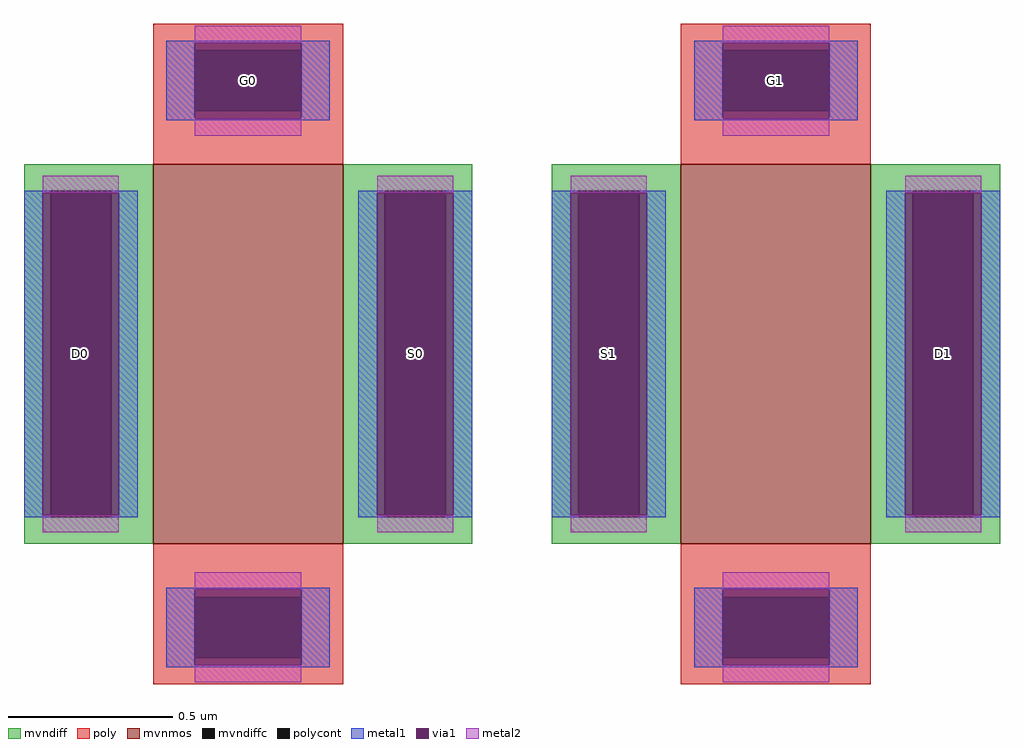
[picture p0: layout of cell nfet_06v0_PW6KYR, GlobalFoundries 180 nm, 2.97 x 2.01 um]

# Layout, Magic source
magic
tech gf180mcuD
magscale 3 26
<< mvnmos >>
rect -189 -100 -89 100
rect 89 -100 189 100
<< mvndiff >>
rect -257 86 -189 100
rect -257 -86 -243 86
rect -211 -86 -189 86
rect -257 -100 -189 -86
rect -89 86 -21 100
rect -89 -86 -67 86
rect -35 -86 -21 86
rect -89 -100 -21 -86
rect 21 86 89 100
rect 21 -86 35 86
rect 67 -86 89 86
rect 21 -100 89 -86
rect 189 86 257 100
rect 189 -86 211 86
rect 243 -86 257 86
rect 189 -100 257 -86
<< mvndiffc >>
rect -243 -86 -211 86
rect -67 -86 -35 86
rect 35 -86 67 86
rect 211 -86 243 86
<< poly >>
rect -189 160 -89 174
rect -189 128 -167 160
rect -111 128 -89 160
rect -189 100 -89 128
rect 89 160 189 174
rect 89 128 111 160
rect 167 128 189 160
rect 89 100 189 128
rect -189 -128 -89 -100
rect -189 -160 -167 -128
rect -111 -160 -89 -128
rect -189 -174 -89 -160
rect 89 -128 189 -100
rect 89 -160 111 -128
rect 167 -160 189 -128
rect 89 -174 189 -160
<< polycont >>
rect -167 128 -111 160
rect 111 128 167 160
rect -167 -160 -111 -128
rect 111 -160 167 -128
<< metal1 >>
rect -182 164 -96 165
rect -182 124 -167 164
rect -111 124 -96 164
rect -182 123 -96 124
rect 96 164 182 165
rect 96 124 111 164
rect 167 124 182 164
rect 96 123 182 124
rect -257 85 -243 86
rect -211 85 -197 86
rect -257 -85 -247 85
rect -207 -85 -197 85
rect -257 -86 -243 -85
rect -211 -86 -197 -85
rect -81 85 -67 86
rect -35 85 -21 86
rect -81 -85 -71 85
rect -31 -85 -21 85
rect -81 -86 -67 -85
rect -35 -86 -21 -85
rect 21 85 35 86
rect 67 85 81 86
rect 21 -85 31 85
rect 71 -85 81 85
rect 21 -86 35 -85
rect 67 -86 81 -85
rect 197 85 211 86
rect 243 85 257 86
rect 197 -85 207 85
rect 247 -85 257 85
rect 197 -86 211 -85
rect 243 -86 257 -85
rect -182 -124 -96 -123
rect -182 -164 -167 -124
rect -111 -164 -96 -124
rect -182 -165 -96 -164
rect 96 -124 182 -123
rect 96 -164 111 -124
rect 167 -164 182 -124
rect 96 -165 182 -164
<< via1 >>
rect -167 160 -111 164
rect -167 128 -111 160
rect -167 124 -111 128
rect 111 160 167 164
rect 111 128 167 160
rect 111 124 167 128
rect -247 -85 -243 85
rect -243 -85 -211 85
rect -211 -85 -207 85
rect -71 -85 -67 85
rect -67 -85 -35 85
rect -35 -85 -31 85
rect 31 -85 35 85
rect 35 -85 67 85
rect 67 -85 71 85
rect 207 -85 211 85
rect 211 -85 243 85
rect 243 -85 247 85
rect -167 -128 -111 -124
rect -167 -160 -111 -128
rect -167 -164 -111 -160
rect 111 -128 167 -124
rect 111 -160 167 -128
rect 111 -164 167 -160
<< metal2 >>
rect -167 164 -111 173
rect -167 115 -111 124
rect 111 164 167 173
rect 111 115 167 124
rect -247 85 -207 94
rect -247 -94 -207 -85
rect -71 85 -31 94
rect -71 -94 -31 -85
rect 31 85 71 94
rect 31 -94 71 -85
rect 207 85 247 94
rect 207 -94 247 -85
rect -167 -124 -111 -115
rect -167 -173 -111 -164
rect 111 -124 167 -115
rect 111 -173 167 -164
<< labels >>
rlabel mvndiffc -227 0 -227 0 0 D0
port 1 nsew
rlabel mvndiffc -51 0 -51 0 0 S0
port 2 nsew
rlabel polycont -139 144 -139 144 0 G0
port 3 nsew
rlabel mvndiffc 227 0 227 0 0 D1
port 4 nsew
rlabel mvndiffc 51 0 51 0 0 S1
port 5 nsew
rlabel polycont 139 144 139 144 0 G1
port 6 nsew
<< properties >>
string gencell nfet_05v0
string library gf180mcu
string parameters w 1.0 l 0.5 m 1 ng 2 diffcov 100 polycov 100 guard 0 glc 1 grc 1 gtc 1 gbc 1 tbcov 100 rlcov 100 topc 1 botc 1 poverlap 0 doverlap 0 lmin 0.45 wmin 0.15 class mosfet compatible {nfet_05v0 nfet_06v0} full_metal 1 conn_gates 0 gate_ring 0 doports 1 viasrc 100 viadrn 100 viagate 100 ccols 1 viagb 0 viagr 0 viagl 0 viagt 0
<< end >>
